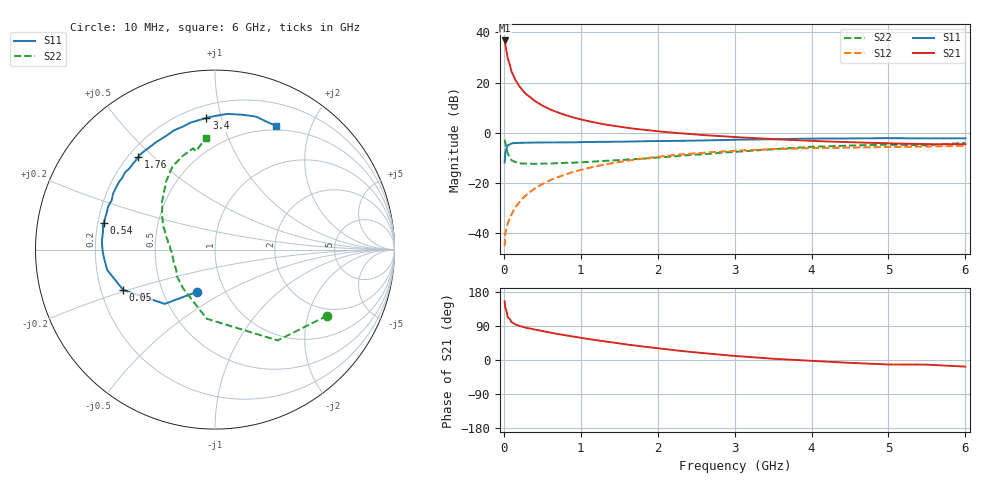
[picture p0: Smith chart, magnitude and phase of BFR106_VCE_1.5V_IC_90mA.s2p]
! Infineon Technologies  Discrete & RF Semiconductors
! BFR106
! VCE =  1.5 V,  IC =  90 mA
! Common Emitter S-Parameters:  Nov 2015
# GHz  S  MA  R  50
!  f  S11  S21  S12  S22
! GHz  MAG  ANG  MAG  ANG  MAG  ANG  MAG  ANG
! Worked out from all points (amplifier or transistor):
!   210 points, 10 MHz to 6 GHz, reference 50 ohm
!   highest |S21| = 36.8 dB at 10 MHz (marker M1)
!   |S21| within 3 dB of that: start of sweep to 27.74 MHz
!   unconditionally stable (mu >= 1): 119 MHz to end of sweep
!   at 185 MHz: K = 1.09, MAG = 22.1 dB, |S12| = -28.4 dB
!   at 1.52 GHz: K = 1.10, MAG = 5.0 dB, |S12| = -11.6 dB
!   at 6 GHz: K = 1.03, MAG = -0.7 dB, |S12| = -5.2 dB
!   S11 on the Smith chart (normalised r, x): 10 MHz: 0.74, -0.37; 50 MHz: 0.29, -0.19; 540 MHz: 0.22, +0.11; 1.76 GHz: 0.24, +0.45; 3.4 GHz: 0.28, +0.90; 6 GHz: 0.45, +1.51
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0.01  0.2543 -112.7  69.31 155.1  0.0054 69.2  0.7262 -30.4
0.02  0.4121 -132.8  56.29 137.4  0.0097 62.0  0.6146 -55.4
0.05  0.5584 -156.2  30.73 113.1  0.0154 57.2  0.3879 -96.8
0.1  0.6117 -169.4  16.54 99.8  0.0232 64.2  0.2809 -128.6
0.15  0.6209 -176.0  11.22 93.7  0.032 68.2  0.26 -144.1
0.2  0.6258 -179.1  8.49 89.9  0.0404 70.5  0.2441 -152.4
0.24  0.6289 178.3  7.122 87.5  0.0477 71.1  0.2412 -158.0
0.26  0.6302 177.3  6.563 86.3  0.0512 71.5  0.2408 -160.1
0.3  0.6318 175.6  5.691 84.5  0.0582 72.4  0.2406 -162.8
0.4  0.632 171.1  4.311 80.3  0.0761 72.9  0.2395 -169.1
0.5  0.6385 167.8  3.469 76.2  0.0935 72.0  0.2391 -173.4
0.54  0.6374 166.3  3.246 74.8  0.1007 71.6  0.2399 -174.5
0.7  0.638 160.5  2.534 68.5  0.1285 69.7  0.2456 -178.5
1.02  0.6483 150.6  1.804 58.0  0.1835 64.5  0.2565 174.2
1.3  0.6539 142.0  1.469 49.3  0.2291 59.4  0.2699 168.4
1.76  0.6705 129.6  1.168 36.9  0.2967 50.9  0.2984 159.5
2.02  0.6767 122.9  1.057 30.6  0.3316 46.1  0.3211 154.6
3.1  0.7233 99.0  0.8 9.3  0.4401 27.1  0.4221 132.7
3.4  0.735 93.7  0.756 4.9  0.4614 22.5  0.4554 127.3
4.1  0.7602 83.4  0.675 -3.3  0.4938 12.3  0.5261 115.3
5.1  0.7734 71.8  0.607 -11.9  0.5176 0.9  0.5732 101.9
6  0.7688 63.9  0.586 -17.5  0.5493 -7.7  0.6252 94.6
